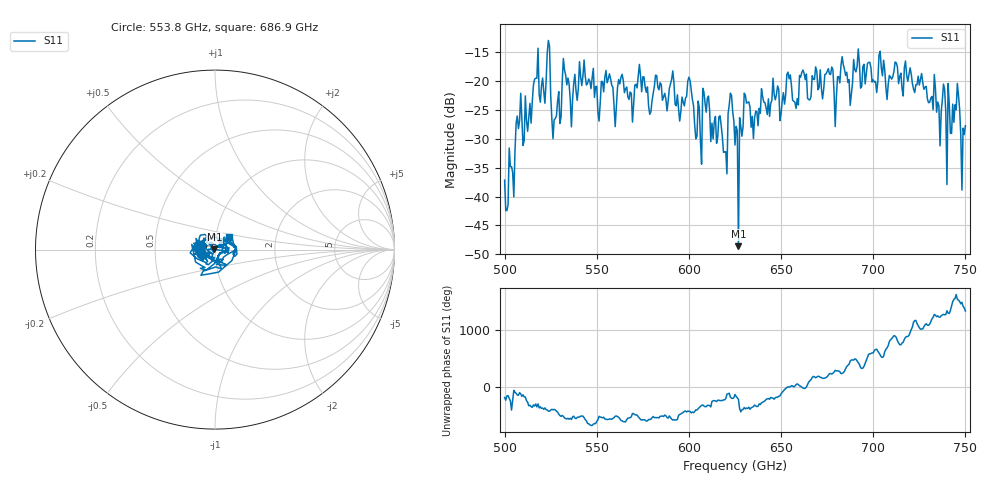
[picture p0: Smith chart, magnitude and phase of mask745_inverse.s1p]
!Created with skrf (http://scikit-rf.org).
# GHz S MA R 50.0
!freq magS11 angS11
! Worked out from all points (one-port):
!   401 points, 500 GHz to 750 GHz, reference 50 ohm
!   lowest |S11| = -48.6 dB at 626.9 GHz (marker M1), VSWR 1.01, Z = 49.7 + j0.176 ohm
!   |S11| at or under -10 dB: start of sweep to end of sweep
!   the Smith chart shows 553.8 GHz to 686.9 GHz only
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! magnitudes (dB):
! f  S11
! 500 GHz  -37.2
! 507.5 GHz  -28.2
! 513.1 GHz  -26.2
! 516.9 GHz  -19.5
! 520.6 GHz  -19.5
! 523.8 GHz  -12.9
! 526.9 GHz  -26.7
! 531.2 GHz  -20.1
! 562.5 GHz  -20.5
! 579.4 GHz  -25.3
! 590.6 GHz  -19.7
! 593.8 GHz  -22.4
! 600.6 GHz  -19.9
! 605.6 GHz  -24.6
! 608.8 GHz  -23.8
! 619.4 GHz  -32.3
! 622.5 GHz  -22.1
! 625 GHz  -31.1
! 626.9 GHz  -48.6
! 631.2 GHz  -23.8
! 635 GHz  -30.0
! 656.2 GHz  -23.3
! 680 GHz  -22.8
! 683.8 GHz  -17.1
! 687.5 GHz  -24.2
! 690.6 GHz  -18.4
! 718.8 GHz  -20.0
! 750 GHz  -27.7
